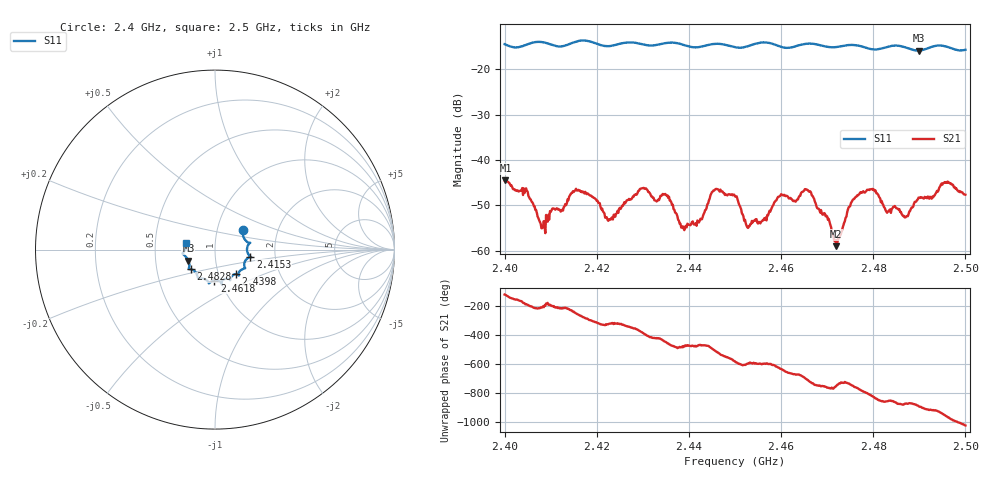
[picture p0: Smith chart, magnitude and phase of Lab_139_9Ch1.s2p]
# Hz S RI R 50
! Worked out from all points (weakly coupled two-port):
!   601 points, 2.4 GHz to 2.5 GHz, reference 50 ohm
!   highest |S21| = -44.51 dB at 2.4002 GHz (marker M1); lowest = -59.0 dB at 2.472 GHz (marker M2)
!   lowest |S11| = -15.9 dB at 2.4898 GHz (marker M3), VSWR 1.38, Z = 36.9 - j4.63 ohm
!   |S11| at or under -10 dB: start of sweep to end of sweep
!   S12 and S22 are empty: the file has one direction only
!   S11 on the Smith chart (normalised r, x): 2.4 GHz: 1.33, +0.29; 2.4153 GHz: 1.48, -0.12; 2.4398 GHz: 1.21, -0.34; 2.4618 GHz: 0.94, -0.33; 2.4828 GHz: 0.74, -0.17; 2.5 GHz: 0.72, +0.06
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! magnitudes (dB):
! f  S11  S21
! 2.4 GHz  -14.5  -44.5
! 2.4002 GHz  -14.6  -44.5
! 2.4047 GHz  -14.6  -46.3
! 2.4083 GHz  -14.1  -54.8
! 2.4153 GHz  -14.0  -46.7
! 2.4167 GHz  -13.7  -46.9
! 2.4227 GHz  -14.9  -53.1
! 2.4297 GHz  -14.4  -46.3
! 2.4333 GHz  -14.6  -48.7
! 2.4398 GHz  -15.0  -54.2
! 2.4455 GHz  -14.4  -46.7
! 2.45 GHz  -15.1  -48.0
! 2.453 GHz  -14.9  -54.6
! 2.4618 GHz  -15.3  -48.5
! 2.4667 GHz  -14.4  -47.8
! 2.472 GHz  -15.1  -59.0
! 2.4773 GHz  -14.9  -47.3
! 2.4828 GHz  -15.1  -51.4
! 2.4833 GHz  -15.0  -51.3
! 2.4898 GHz  -15.9  -48.3
! 2.4957 GHz  -15.0  -45.0
! 2.5 GHz  -15.7  -47.7
